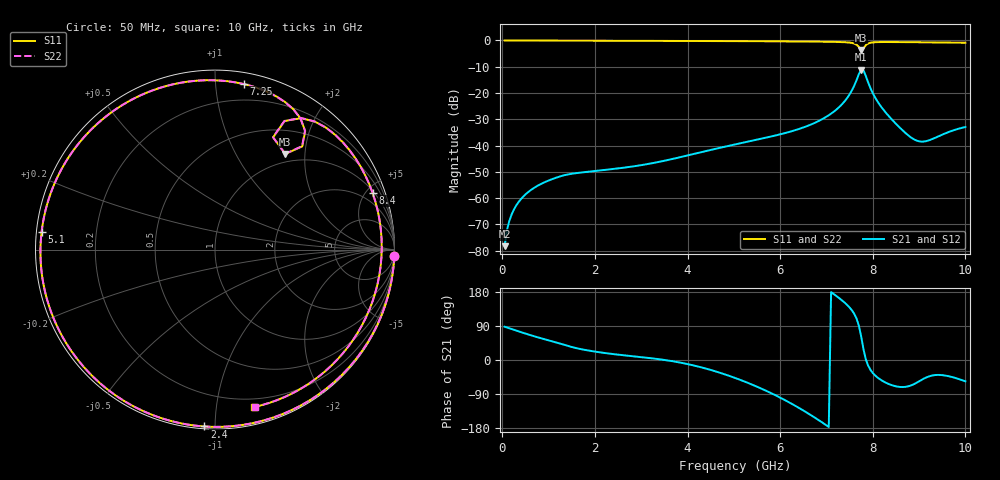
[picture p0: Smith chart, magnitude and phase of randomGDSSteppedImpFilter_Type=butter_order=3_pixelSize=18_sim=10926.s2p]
! freq	dB(S11)	phase(S11)	dB(S12)	phase(S12)
!  dB(S21)	phase(S21)	dB(S22)	phase(S22)
!S-par simulation data
#  GHz  S  DB  R 50
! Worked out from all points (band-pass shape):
!   200 points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, 50 MHz to 10 GHz, reference 50 ohm
!   highest |S21| = -11.07 dB at 7.75 GHz (marker M1); lowest = -78.3 dB at 50 MHz (marker M2)
!   |S21| within 3 dB of the highest: 7.672 GHz to 7.861 GHz (188.9 MHz wide, 2.43 % of centre)
!   lowest |S11| = -3.6 dB at 7.75 GHz (marker M3), VSWR 4.90, Z = 43 + j81.5 ohm
!   |S11| at or under -10 dB: nowhere
!   |S22| runs from -3.6 to 0.0 dB; largest |S21 - S12| = 0
!   S11 on the Smith chart (normalised r, x): 50 MHz: 0, -55; 2.4 GHz: 0.01, -0.94; 5.1 GHz: 0.01, +0.05; 7.25 GHz: 0.08, +1.18; 8.4 GHz: 1.13, +5.52; 10 GHz: 0.13, -1.27
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0.05  -0.00 -2.1  -78.26 87.9  -78.26 87.9  -0.00 -2.1
0.1  -0.01 -4.2  -72.25 85.8  -72.25 85.8  -0.01 -4.2
0.2  -0.01 -8.3  -66.26 81.7  -66.26 81.7  -0.01 -8.3
0.5  -0.03 -20.6  -58.57 69.7  -58.57 69.7  -0.03 -20.6
1.05  -0.05 -42.7  -52.93 50.2  -52.93 50.2  -0.05 -42.7
1.75  -0.09 -69.7  -50.14 27.4  -50.14 27.4  -0.09 -69.7
2.4  -0.11 -93.4  -48.88 15.5  -48.88 15.5  -0.11 -93.4
3.4  -0.15 -128.0  -46.13 1.8  -46.13 1.8  -0.15 -127.9
4.25  -0.20 -156.5  -42.70 -17.9  -42.70 -17.9  -0.20 -156.5
5.05  -0.25 175.9  -39.46 -48.4  -39.46 -48.4  -0.25 176.0
5.1  -0.25 174.1  -39.27 -50.7  -39.27 -50.7  -0.25 174.2
5.9  -0.33 143.9  -36.15 -93.1  -36.15 -93.1  -0.33 143.9
6.7  -0.43 108.8  -31.73 -148.3  -31.73 -148.3  -0.43 108.9
7.25  -0.57 80.2  -25.74 165.6  -25.74 165.6  -0.57 80.3
7.65  -1.61 52.8  -15.09 109.2  -15.09 109.2  -1.61 52.9
7.75  -3.59 53.7  -11.07 61.9  -11.07 61.9  -3.59 53.8
7.8  -3.04 62.6  -11.41 28.1  -11.41 28.1  -3.04 62.7
7.9  -1.15 56.8  -15.96 -14.8  -15.96 -14.8  -1.15 56.9
8.35  -0.60 23.0  -28.87 -63.7  -28.87 -63.7  -0.60 23.2
8.4  -0.60 19.8  -29.84 -66.0  -29.84 -66.0  -0.60 19.9
9.05  -0.70 -21.1  -38.48 -52.7  -38.48 -52.7  -0.70 -20.9
10  -0.88 -76.2  -32.93 -56.2  -32.93 -56.2  -0.88 -75.8
